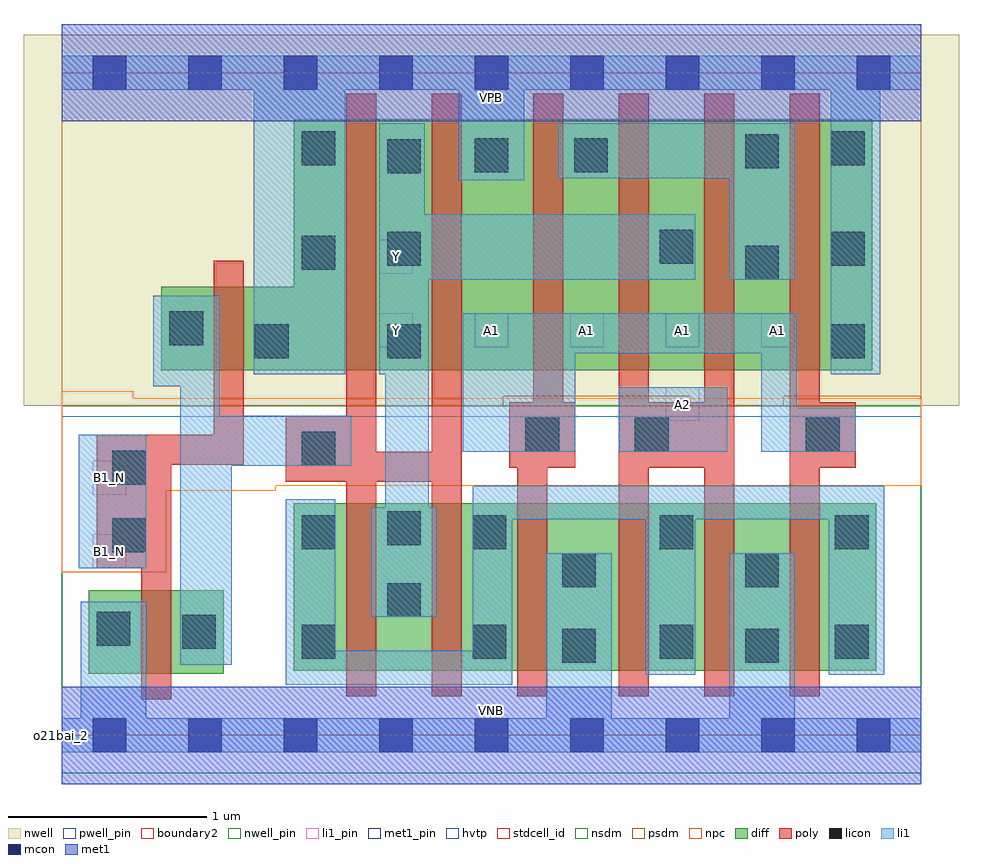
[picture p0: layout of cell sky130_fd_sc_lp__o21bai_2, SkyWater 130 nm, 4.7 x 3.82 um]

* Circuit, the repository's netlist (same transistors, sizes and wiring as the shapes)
* Copyright 2020 The SkyWater PDK Authors
*
* Licensed under the Apache License, Version 2.0 (the "License");
* you may not use this file except in compliance with the License.
* You may obtain a copy of the License at
*
*     https://www.apache.org/licenses/LICENSE-2.0
*
* Unless required by applicable law or agreed to in writing, software
* distributed under the License is distributed on an "AS IS" BASIS,
* WITHOUT WARRANTIES OR CONDITIONS OF ANY KIND, either express or implied.
* See the License for the specific language governing permissions and
* limitations under the License.
*
* SPDX-License-Identifier: Apache-2.0

.SUBCKT sky130_fd_sc_lp__o21bai_2 A1 A2 B1_N VGND VNB VPB VPWR Y
*.PININFO A1:I A2:I B1_N:I VGND:I VNB:I VPB:I VPWR:I Y:O
MMPA0 VPWR A1 sndA1 VPB sky130_fd_pr__pfet_01v8_hvt m=2 w=1.26U l=0.15U mult=1
+ sa=0.265 sb=0.265 sd=0.28 area=0.063 perim=1.14
MMPA1 sndA1 A2 Y VPB sky130_fd_pr__pfet_01v8_hvt m=2 w=1.26U l=0.15U mult=1 sa=0.265
+ sb=0.265 sd=0.28 area=0.063 perim=1.14
MMPB0 VPWR B1 Y VPB sky130_fd_pr__pfet_01v8_hvt m=2 w=1.26U l=0.15U mult=1 sa=0.265
+ sb=0.265 sd=0.28 area=0.063 perim=1.14
MMIPB1N B1 B1_N VPWR VPB sky130_fd_pr__pfet_01v8_hvt m=1 w=0.42U l=0.15U mult=1
+ sa=0.265 sb=0.265 sd=0.28 area=0.063 perim=1.14
MMNA0 pndA A1 VGND VNB sky130_fd_pr__nfet_01v8 m=2 w=0.84U l=0.15U mult=1 sa=0.265
+ sb=0.265 sd=0.28 area=0.063 perim=1.14
MMNA1 pndA A2 VGND VNB sky130_fd_pr__nfet_01v8 m=2 w=0.84U l=0.15U mult=1 sa=0.265
+ sb=0.265 sd=0.28 area=0.063 perim=1.14
MMNB0 Y B1 pndA VNB sky130_fd_pr__nfet_01v8 m=2 w=0.84U l=0.15U mult=1 sa=0.265
+ sb=0.265 sd=0.28 area=0.063 perim=1.14
MMINB1N B1 B1_N VGND VNB sky130_fd_pr__nfet_01v8 m=1 w=0.42U l=0.15U mult=1 sa=0.265
+ sb=0.265 sd=0.28 area=0.063 perim=1.14
.ENDS sky130_fd_sc_lp__o21bai_2

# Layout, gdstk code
import gdstk
lib = gdstk.Library(unit=1e-6, precision=1e-09)
def R(c, l, rs):  # rectangles x0, y0, x1, y1
    for r in rs: c.add(gdstk.rectangle(r[:2], r[2:], *l))
def A(c, l, x, y, w, h, nx, ny, dx, dy):  # array of equal rectangles
    R(c, l, [(x+i*dx, y+j*dy, x+i*dx+w, y+j*dy+h) for i in range(nx) for j in range(ny)])
def P(c, l, *ps):  # polygons
    for p in ps: c.add(gdstk.Polygon(p, *l))
nwell_pin = (64, 16)
nwell = (64, 20)
diff = (65, 20)
poly = (66, 20)
licon = (66, 44)
li1_pin = (67, 16)
li1 = (67, 20)
mcon = (67, 44)
met1_pin = (68, 16)
met1 = (68, 20)
hvtp = (78, 44)
stdcell_id = (81, 4)
nsdm = (93, 44)
psdm = (94, 20)
npc = (95, 20)
pwell_pin = (122, 16)
boundary2 = (236, 0)

sky130_fd_sc_lp__o21bai_ = lib.new_cell('sky130_fd_sc_lp__o21bai_2')
R(sky130_fd_sc_lp__o21bai_, nwell_pin, [(0,3.085,4.32,3.33)])
R(sky130_fd_sc_lp__o21bai_, nwell, [(-0.19,1.655,4.51,3.52)])
R(sky130_fd_sc_lp__o21bai_, diff, [(0.135,0.31,0.815,0.73), (1.165,0.325,4.095,1.165)])
P(sky130_fd_sc_lp__o21bai_, diff, [(4.075,3.095),(1.165,3.095),(1.165,2.255),(0.5,2.255),(0.5,1.835),(4.075,1.835)])
P(sky130_fd_sc_lp__o21bai_, poly, [(0.915,2.385),(0.765,2.385),(0.765,1.51),(0.175,1.51),(0.175,0.84),(0.4,0.84),(0.4,0.18),(0.55,0.18),(0.55,1.36),(0.915,1.36)],
  [(2.01,3.225),(1.86,3.225),(1.86,1.425),(1.58,1.425),(1.58,3.225),(1.43,3.225),(1.43,1.605),(1.125,1.605),(1.125,1.275),(1.43,1.275),(1.43,0.195),(1.58,0.195),(1.58,1.275),(1.86,1.275),(1.86,0.195),(2.01,0.195)],
  [(2.58,1.675),(2.52,1.675),(2.52,3.225),(2.37,3.225),(2.37,1.675),(2.25,1.675),(2.25,1.345),(2.29,1.345),(2.29,0.195),(2.44,0.195),(2.44,1.345),(2.58,1.345)],
  [(3.38,3.225),(3.23,3.225),(3.23,1.675),(2.95,1.675),(2.95,3.225),(2.8,3.225),(2.8,0.195),(2.95,0.195),(2.95,1.345),(3.23,1.345),(3.23,0.195),(3.38,0.195)],
  [(3.99,1.675),(3.81,1.675),(3.81,3.225),(3.66,3.225),(3.66,0.195),(3.81,0.195),(3.81,1.345),(3.99,1.345)])
A(sky130_fd_sc_lp__o21bai_, licon, 1.635, 1.895, 0.17, 0.17, 1, 3, 0, 0.465)
R(sky130_fd_sc_lp__o21bai_, licon, [(2.515,0.365,2.685,0.535), (3.435,0.365,3.605,0.535), (1.205,0.385,1.375,0.555), (2.065,0.385,2.235,0.555), (3.005,0.385,3.175,0.555), (3.885,0.385,4.055,0.555), (0.605,0.435,0.775,0.605), (0.175,0.45,0.345,0.62), (1.635,0.595,1.805,0.765), (2.515,0.745,2.685,0.915), (3.435,0.745,3.605,0.915), (0.255,0.92,0.425,1.09), (1.205,0.935,1.375,1.105), (2.065,0.935,2.235,1.105), (3.005,0.935,3.175,1.105), (3.885,0.935,4.055,1.105), (1.635,0.955,1.805,1.125), (0.255,1.26,0.425,1.43), (1.205,1.355,1.375,1.525), (2.33,1.425,2.5,1.595), (2.88,1.425,3.05,1.595), (3.74,1.425,3.91,1.595), (0.97,1.895,1.14,2.065), (3.865,1.895,4.035,2.065), (0.54,1.96,0.71,2.13), (3.435,2.29,3.605,2.46), (1.205,2.34,1.375,2.51), (3.865,2.36,4.035,2.53), (3.005,2.37,3.175,2.54), (2.075,2.83,2.245,3), (2.575,2.83,2.745,3), (3.435,2.85,3.605,3.02), (1.205,2.865,1.375,3.035), (3.865,2.865,4.035,3.035)])
A(sky130_fd_sc_lp__o21bai_, li1_pin, 1.595, 1.95, 0.17, 0.17, 5, 1, 0.48, 0)
R(sky130_fd_sc_lp__o21bai_, li1_pin, [(0.155,0.84,0.325,1.01), (0.155,1.21,0.325,1.38), (3.035,1.58,3.205,1.75), (1.595,2.32,1.765,2.49)])
R(sky130_fd_sc_lp__o21bai_, li1, [(0.085,0.84,0.425,1.51), (2.8,1.425,3.345,1.75)])
P(sky130_fd_sc_lp__o21bai_, li1, [(3.865,1.815),(3.865,3.245),(2.325,3.245),(2.325,2.79),(1.995,2.79),(1.995,3.245),(1.425,3.245),(1.425,1.815),(0.965,1.815),(0.965,3.245),(0,3.245),(0,3.415),(4.32,3.415),(4.32,3.245),(4.115,3.245),(4.115,1.815)],
  [(2.435,0.085),(2.435,0.915),(2.765,0.915),(2.765,0.085),(3.355,0.085),(3.355,0.915),(3.685,0.915),(3.685,0.085),(4.32,0.085),(4.32,-0.085),(0,-0.085),(0,0.085),(0.095,0.085),(0.095,0.67),(0.425,0.67),(0.425,0.085)],
  [(1.595,1.815),(1.595,3.075),(1.825,3.075),(1.825,2.62),(3.185,2.62),(3.185,2.29),(1.845,2.29),(1.845,1.145),(1.885,1.145),(1.885,0.595),(1.555,0.595),(1.555,1.145),(1.625,1.145),(1.625,1.815)],
  [(2.015,2.12),(3.695,2.12),(3.695,1.645),(3.99,1.645),(3.99,1.425),(3.515,1.425),(3.515,1.92),(2.58,1.92),(2.58,1.425),(2.015,1.425)],
  [(0.595,0.355),(0.595,1.755),(0.46,1.755),(0.46,2.21),(0.795,2.21),(0.795,1.605),(1.455,1.605),(1.455,1.355),(0.855,1.355),(0.855,0.355)],
  [(2.495,2.8),(2.495,3.075),(3.685,3.075),(3.685,2.29),(3.355,2.29),(3.355,2.8)],
  [(3.855,1.085),(3.185,1.085),(3.185,0.305),(2.935,0.305),(2.935,1.085),(2.265,1.085),(2.265,0.255),(1.125,0.255),(1.125,1.185),(1.375,1.185),(1.375,0.425),(2.065,0.425),(2.065,1.255),(4.135,1.255),(4.135,0.305),(3.855,0.305)])
A(sky130_fd_sc_lp__o21bai_, mcon, 0.155, -0.085, 0.17, 0.17, 9, 2, 0.48, 3.33)
R(sky130_fd_sc_lp__o21bai_, met1_pin, [(0,0,4.32,0.245), (0,3.085,4.32,3.33)])
R(sky130_fd_sc_lp__o21bai_, met1, [(0,-0.245,4.32,0.245), (0,3.085,4.32,3.575)])
R(sky130_fd_sc_lp__o21bai_, hvtp, [(0,1.6,4.32,3.33)])
R(sky130_fd_sc_lp__o21bai_, stdcell_id, [(0,0,4.32,3.33)])
R(sky130_fd_sc_lp__o21bai_, nsdm, [(0,-0.19,4.32,1.655)])
P(sky130_fd_sc_lp__o21bai_, psdm, [(4.32,3.52),(0,3.52),(0,1.655),(2.22,1.655),(2.22,1.705),(3.16,1.705),(3.16,1.655),(3.63,1.655),(3.63,1.705),(4.32,1.705)])
P(sky130_fd_sc_lp__o21bai_, npc, [(4.32,1.695),(0.36,1.695),(0.36,1.73),(0,1.73),(0,0.82),(0.525,0.82),(0.525,1.23),(1.075,1.23),(1.075,1.255),(4.32,1.255)])
R(sky130_fd_sc_lp__o21bai_, pwell_pin, [(0,0,4.32,0.245)])
R(sky130_fd_sc_lp__o21bai_, boundary2, [(0,0,4.32,3.33)])
sky130_fd_sc_lp__o21bai_.add(gdstk.Label('VNB', (2.16,0.123), layer=64, texttype=59))
sky130_fd_sc_lp__o21bai_.add(gdstk.Label('VPB', (2.16,3.208), layer=64, texttype=5))
sky130_fd_sc_lp__o21bai_.add(gdstk.Label('o21bai_2', (0,0), layer=83, texttype=44))
sky130_fd_sc_lp__o21bai_.add(gdstk.Label('VPWR', (2.16,3.208), layer=68, texttype=5))
sky130_fd_sc_lp__o21bai_.add(gdstk.Label('VGND', (2.16,0.123), layer=68, texttype=5))
sky130_fd_sc_lp__o21bai_.add(gdstk.Label('Y', (1.68,2.035), layer=67, texttype=5))
sky130_fd_sc_lp__o21bai_.add(gdstk.Label('Y', (1.68,2.405), layer=67, texttype=5))
sky130_fd_sc_lp__o21bai_.add(gdstk.Label('A1', (2.16,2.035), layer=67, texttype=5))
sky130_fd_sc_lp__o21bai_.add(gdstk.Label('A1', (2.64,2.035), layer=67, texttype=5))
sky130_fd_sc_lp__o21bai_.add(gdstk.Label('A1', (3.12,2.035), layer=67, texttype=5))
sky130_fd_sc_lp__o21bai_.add(gdstk.Label('A1', (3.6,2.035), layer=67, texttype=5))
sky130_fd_sc_lp__o21bai_.add(gdstk.Label('A2', (3.12,1.665), layer=67, texttype=5))
sky130_fd_sc_lp__o21bai_.add(gdstk.Label('B1_N', (0.24,0.925), layer=67, texttype=5))
sky130_fd_sc_lp__o21bai_.add(gdstk.Label('B1_N', (0.24,1.295), layer=67, texttype=5))

lib.write_gds('sky130_fd_sc_lp__o21bai_2.gds')
